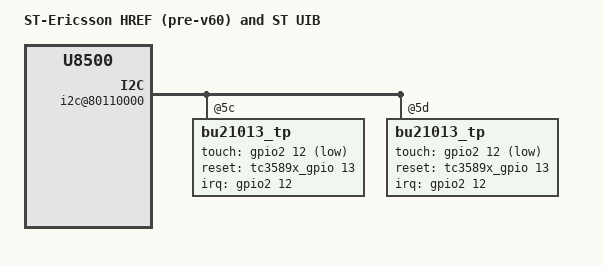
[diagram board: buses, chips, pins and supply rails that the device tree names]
// SPDX-License-Identifier: GPL-2.0-or-later
/*
 * Copyright 2012 ST-Ericsson AB
 */

/dts-v1/;
#include <dt-bindings/gpio/gpio.h>
#include <dt-bindings/interrupt-controller/irq.h>
#include "ste-hrefprev60.dtsi"
#include "ste-href-stuib.dtsi"

/ {
	model = "ST-Ericsson HREF (pre-v60) and ST UIB";
	compatible = "st-ericsson,mop500", "st-ericsson,u8500";

	soc {
		/* Reset line for the BU21013 touchscreen */
		i2c@80110000 {
			/* Only one of these will be used */
			bu21013_tp@5c {
				interrupt-parent = <&gpio2>;
				interrupts = <12 IRQ_TYPE_LEVEL_LOW>;
				touch-gpios = <&gpio2 12 GPIO_ACTIVE_LOW>;
				reset-gpios = <&tc3589x_gpio 13 GPIO_LINE_OPEN_DRAIN>;
			};
			bu21013_tp@5d {
				interrupt-parent = <&gpio2>;
				interrupts = <12 IRQ_TYPE_LEVEL_LOW>;
				touch-gpios = <&gpio2 12 GPIO_ACTIVE_LOW>;
				reset-gpios = <&tc3589x_gpio 13 GPIO_LINE_OPEN_DRAIN>;
			};
		};
	};
};
